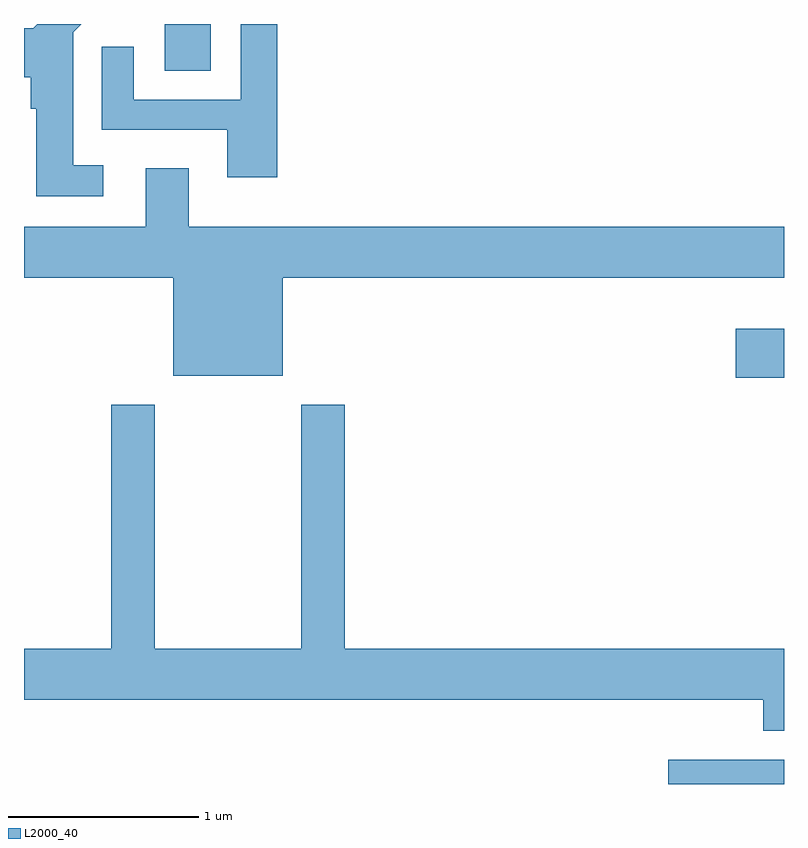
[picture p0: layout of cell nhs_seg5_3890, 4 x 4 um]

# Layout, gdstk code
import gdstk
lib = gdstk.Library(unit=1e-6, precision=1e-09)
def R(c, l, rs):  # rectangles x0, y0, x1, y1
    for r in rs: c.add(gdstk.rectangle(r[:2], r[2:], *l))
def P(c, l, *ps):  # polygons
    for p in ps: c.add(gdstk.Polygon(p, *l))
L2000_40 = (2000, 40)

nhs_seg5_3890 = lib.new_cell('nhs_seg5_3890')
R(nhs_seg5_3890, L2000_40, [(303.003,1514.072,303.611,1514.199), (303.356,1516.211,303.611,1516.469), (300.351,1517.826,300.594,1518.072)])
P(nhs_seg5_3890, L2000_40, [(300.028,1517.329),(299.869,1517.329),(299.869,1518.029),(299.912,1518.072),(299.682,1518.072),(299.659,1518.049),(299.611,1518.049),(299.611,1517.791),(299.646,1517.791),(299.646,1517.626),(299.676,1517.626),(299.676,1517.166),(300.028,1517.166)],
  [(300.944,1518.072),(300.751,1518.072),(300.751,1517.674),(300.189,1517.674),(300.189,1517.953),(300.021,1517.953),(300.021,1517.516),(300.681,1517.516),(300.681,1517.266),(300.944,1517.266)],
  [(300.974,1516.736),(303.611,1516.736),(303.611,1517.004),(300.479,1517.004),(300.479,1517.314),(300.251,1517.314),(300.251,1517.004),(299.611,1517.004),(299.611,1516.736),(300.396,1516.736),(300.396,1516.221),(300.974,1516.221)],
  [(303.611,1514.784),(301.299,1514.784),(301.299,1516.069),(301.071,1516.069),(301.071,1514.784),(300.299,1514.784),(300.299,1516.069),(300.071,1516.069),(300.071,1514.784),(299.611,1514.784),(299.611,1514.516),(303.501,1514.516),(303.501,1514.351),(303.611,1514.351)])

lib.write_gds('nhs_seg5_3890.gds')
